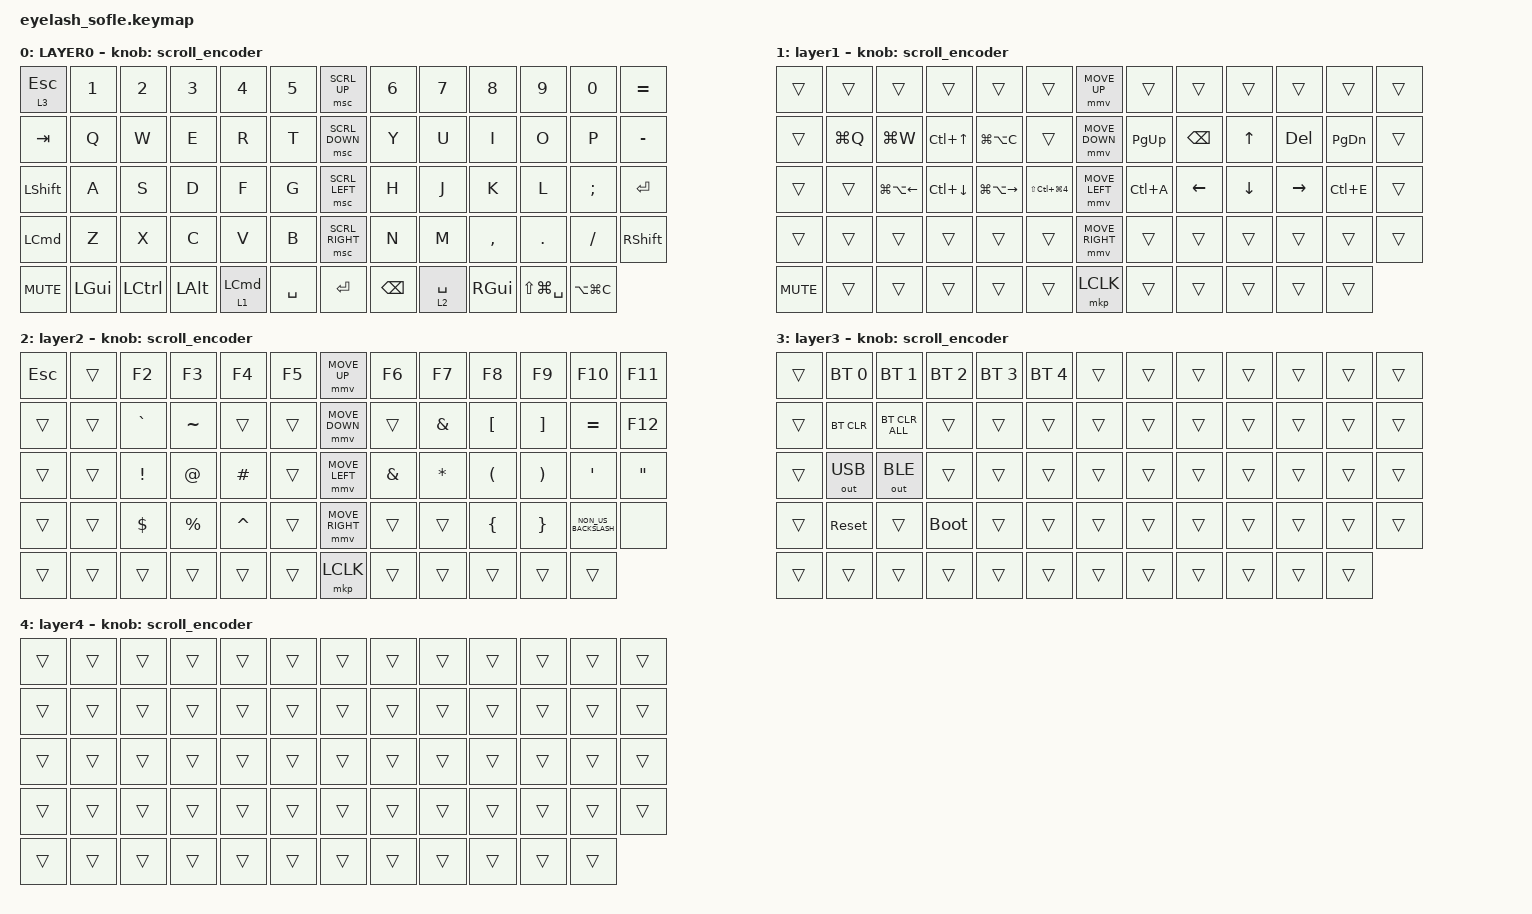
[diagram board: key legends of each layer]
#define ZMK_POINTING_DEFAULT_MOVE_VAL 1200  // 600
#define ZMK_POINTING_DEFAULT_SCRL_VAL 25   // 10

#include <input/processors.dtsi>
#include <zephyr/dt-bindings/input/input-event-codes.h>
#include <behaviors.dtsi>
#include <dt-bindings/zmk/bt.h>
#include <dt-bindings/zmk/keys.h>
#include <dt-bindings/zmk/outputs.h>
#include <dt-bindings/zmk/pointing.h>

&mmv_input_listener { input-processors = <&zip_xy_scaler 2 1>; };

&msc_input_listener { input-processors = <&zip_scroll_scaler 2 1>; };

&msc {
    acceleration-exponent = <1>;      // 0
    time-to-max-speed-ms = <100>;       // 300
    delay-ms = <0>;                   // 0
};

&mmv {
    time-to-max-speed-ms = <500>;
    acceleration-exponent = <1>;
    trigger-period-ms = <16>;
};

&soft_off { hold-time-ms = <2000>; };

/ {
    scroll_encoder: scroll_encoder {
        compatible = "zmk,behavior-sensor-rotate";
        #sensor-binding-cells = <0>;
        bindings = <&msc SCRL_DOWN>, <&msc SCRL_UP>;

        tap-ms = <100>;
    };

    behaviors {
    };

    combos {
        compatible = "zmk,combos";

        softoff {
            bindings = <&soft_off>;
            key-positions = <14 28 40>;
        };
    };

    keymap {
        compatible = "zmk,keymap";

        layer0 {
            bindings = <
&lt 3 ESCAPE      &kp N1        &kp N2            &kp N3        &kp N4              &kp N5       &msc SCRL_UP     &kp N6         &kp N7       &kp N8         &kp N9             &kp N0         &kp EQUAL
&kp TAB           &kp Q         &kp W             &kp E         &kp R               &kp T        &msc SCRL_DOWN   &kp Y          &kp U        &kp I          &kp O              &kp P          &kp MINUS
&kp LEFT_SHIFT    &kp A         &kp S             &kp D         &kp F               &kp G        &msc SCRL_LEFT   &kp H          &kp J        &kp K          &kp L              &kp SEMI       &kp ENTER
&kp LEFT_COMMAND  &kp Z         &kp X             &kp C         &kp V               &kp B        &msc SCRL_RIGHT  &kp N          &kp M        &kp COMMA      &kp DOT            &kp FSLH       &kp RIGHT_SHIFT
&kp C_MUTE        &kp LEFT_GUI  &kp LEFT_CONTROL  &kp LEFT_ALT  &lt 1 LEFT_COMMAND  &kp SPACE    &kp ENTER        &kp BACKSPACE  &lt 2 SPACE  &kp RIGHT_GUI  &kp LS(LG(SPACE))  &kp LA(LG(C))
            >;

            sensor-bindings = <&scroll_encoder>;
            display-name = "LAYER0";
        };

        layer_1 {
            bindings = <
&trans      &trans     &trans            &trans        &trans             &trans                      &mmv MOVE_UP     &trans       &trans         &trans    &trans     &trans         &trans
&trans      &kp LG(Q)  &kp LG(W)         &kp LC(UP)    &kp LG(LA(C))      &trans                      &mmv MOVE_DOWN   &kp PAGE_UP  &kp BACKSPACE  &kp UP    &kp DEL    &kp PAGE_DOWN  &trans
&trans      &trans     &kp LG(LA(LEFT))  &kp LC(DOWN)  &kp LG(LA(RIGHT))  &kp LS(LC(LG(NUMBER_4)))    &mmv MOVE_LEFT   &kp LC(A)    &kp LEFT       &kp DOWN  &kp RIGHT  &kp LC(E)      &trans
&trans      &trans     &trans            &trans        &trans             &trans                      &mmv MOVE_RIGHT  &trans       &trans         &trans    &trans     &trans         &trans
&kp C_MUTE  &trans     &trans            &trans        &trans             &trans                      &mkp LCLK        &trans       &trans         &trans    &trans     &trans
            >;

            display-name = "layer1";
            sensor-bindings = <&scroll_encoder>;
        };

        layer_2 {
            bindings = <
&kp ESCAPE  &trans  &kp F2           &kp F3       &kp F4     &kp F5    &mmv MOVE_UP     &kp F6         &kp F7         &kp F8                &kp F9                 &kp F10               &kp F11
&trans      &trans  &kp GRAVE        &kp TILDE    &trans     &trans    &mmv MOVE_DOWN   &trans         &kp AMPERSAND  &kp LEFT_BRACKET      &kp RIGHT_BRACKET      &kp EQUAL             &kp F12
&trans      &trans  &kp EXCLAMATION  &kp AT_SIGN  &kp HASH   &trans    &mmv MOVE_LEFT   &kp AMPERSAND  &kp ASTERISK   &kp LEFT_PARENTHESIS  &kp RIGHT_PARENTHESIS  &kp SQT               &kp DOUBLE_QUOTES
&trans      &trans  &kp DOLLAR       &kp PERCENT  &kp CARET  &trans    &mmv MOVE_RIGHT  &trans         &trans         &kp LEFT_BRACE        &kp RIGHT_BRACE        &kp NON_US_BACKSLASH  &none
&trans      &trans  &trans           &trans       &trans     &trans    &mkp LCLK        &trans         &trans         &trans                &trans                 &trans
            >;

            display-name = "layer2";
            sensor-bindings = <&scroll_encoder>;
        };

        layer_3 {
            bindings = <
&trans  &bt BT_SEL 0  &bt BT_SEL 1    &bt BT_SEL 2  &bt BT_SEL 3  &bt BT_SEL 4    &trans  &trans  &trans  &trans  &trans  &trans  &trans
&trans  &bt BT_CLR    &bt BT_CLR_ALL  &trans        &trans        &trans          &trans  &trans  &trans  &trans  &trans  &trans  &trans
&trans  &out OUT_USB  &out OUT_BLE    &trans        &trans        &trans          &trans  &trans  &trans  &trans  &trans  &trans  &trans
&trans  &sys_reset    &trans          &bootloader   &trans        &trans          &trans  &trans  &trans  &trans  &trans  &trans  &trans
&trans  &trans        &trans          &trans        &trans        &trans          &trans  &trans  &trans  &trans  &trans  &trans
            >;

            display-name = "layer3";
            sensor-bindings = <&scroll_encoder>;
        };

        layer_4 {
            bindings = <
&trans  &trans  &trans  &trans  &trans  &trans    &trans  &trans  &trans  &trans  &trans  &trans  &trans
&trans  &trans  &trans  &trans  &trans  &trans    &trans  &trans  &trans  &trans  &trans  &trans  &trans
&trans  &trans  &trans  &trans  &trans  &trans    &trans  &trans  &trans  &trans  &trans  &trans  &trans
&trans  &trans  &trans  &trans  &trans  &trans    &trans  &trans  &trans  &trans  &trans  &trans  &trans
&trans  &trans  &trans  &trans  &trans  &trans    &trans  &trans  &trans  &trans  &trans  &trans
            >;

            display-name = "layer4";
            sensor-bindings = <&scroll_encoder>;
        };
    };
};
